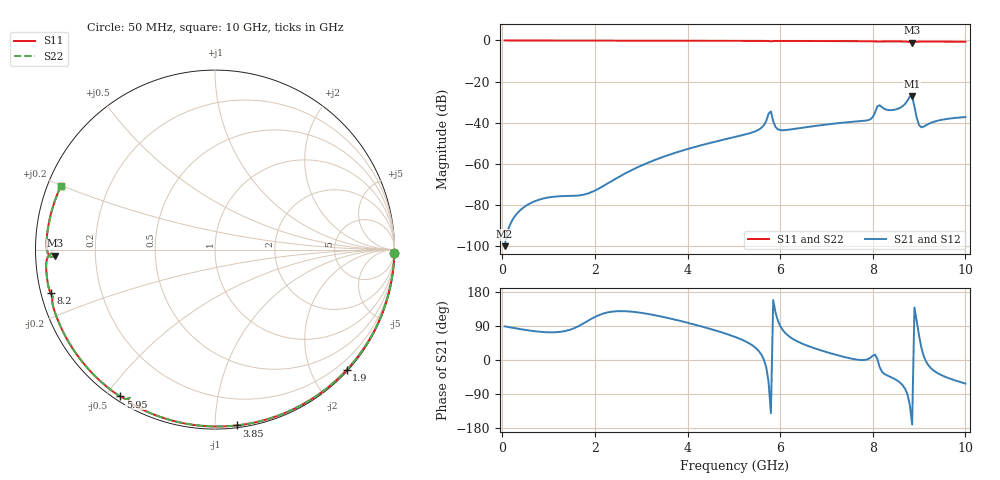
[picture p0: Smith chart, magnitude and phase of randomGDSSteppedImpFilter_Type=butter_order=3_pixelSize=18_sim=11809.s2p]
! freq	dB(S11)	phase(S11)	dB(S12)	phase(S12)
!  dB(S21)	phase(S21)	dB(S22)	phase(S22)
!S-par simulation data
#  GHz  S  DB  R 50
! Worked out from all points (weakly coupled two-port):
!   200 points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, 50 MHz to 10 GHz, reference 50 ohm
!   highest |S21| = -27.22 dB at 8.85 GHz (marker M1); lowest = -99.9 dB at 50 MHz (marker M2)
!   lowest |S11| = -1.0 dB at 8.85 GHz (marker M3), VSWR 17.41, Z = 2.87 - j0.965 ohm
!   |S11| at or under -10 dB: nowhere
!   |S22| runs from -1.0 to 0.0 dB; largest |S21 - S12| = 0
!   S11 on the Smith chart (normalised r, x): 50 MHz: open; 1.9 GHz: 0.02, -2.57; 3.85 GHz: 0.01, -1.13; 5.95 GHz: 0.02, -0.54; 8.2 GHz: 0.03, -0.13; 10 GHz: 0.04, +0.20
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0.05  -0.00 -1.1  -99.92 88.8  -99.92 88.8  -0.00 -1.2
1.75  -0.05 -39.2  -74.94 96.3  -74.94 96.3  -0.05 -39.2
1.9  -0.05 -42.5  -73.91 107.0  -73.91 107.0  -0.05 -42.4
3.4  -0.10 -74.0  -57.16 115.5  -57.16 115.5  -0.10 -73.9
3.85  -0.11 -83.0  -53.75 103.0  -53.75 103.0  -0.11 -83.0
5.05  -0.16 -106.4  -46.76 59.8  -46.76 59.8  -0.16 -106.3
5.55  -0.19 -116.0  -43.17 21.9  -43.17 21.9  -0.19 -115.9
5.65  -0.21 -118.0  -41.13 0.6  -41.13 0.6  -0.21 -118.0
5.8  -0.42 -120.0  -34.48 -140.3  -34.48 -140.3  -0.42 -119.9
5.85  -0.28 -120.6  -39.25 158.1  -39.25 158.1  -0.28 -120.6
5.95  -0.23 -122.8  -43.14 104.2  -43.14 104.2  -0.23 -122.8
6.7  -0.27 -137.1  -41.69 32.7  -41.69 32.7  -0.27 -137.0
7.9  -0.38 -159.9  -38.72 2.5  -38.72 2.5  -0.38 -159.9
8  -0.42 -162.0  -37.22 11.4  -37.22 11.4  -0.42 -162.0
8.1  -0.53 -163.8  -31.99 2.2  -31.99 2.2  -0.53 -163.7
8.2  -0.47 -165.2  -32.45 -31.2  -32.45 -31.2  -0.47 -165.1
8.35  -0.44 -168.3  -33.83 -42.9  -33.83 -42.9  -0.44 -168.3
8.6  -0.48 -173.7  -32.58 -61.0  -32.58 -61.0  -0.48 -173.7
8.85  -1.00 -177.8  -27.22 -170.3  -27.22 -170.3  -1.00 -177.7
8.95  -0.62 -178.7  -37.60 101.0  -37.60 101.0  -0.62 -178.6
9.05  -0.55 178.8  -42.19 32.2  -42.19 32.2  -0.55 178.8
10  -0.64 157.6  -37.20 -62.1  -37.20 -62.1  -0.64 157.7
